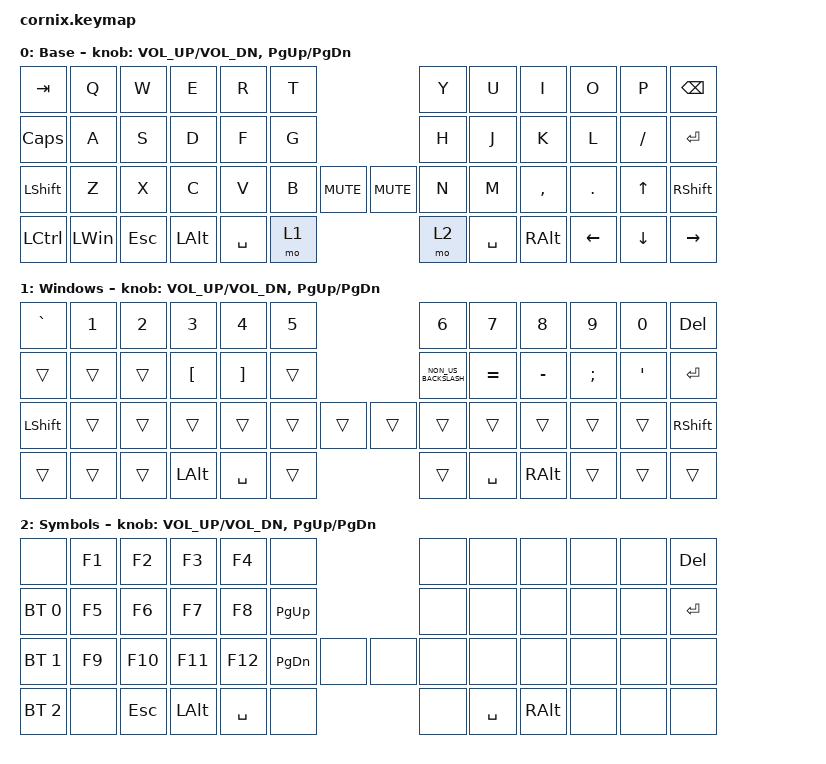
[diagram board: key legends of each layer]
/*
 * Copyright (c) 2020 The ZMK Contributors
 *
 * SPDX-License-Identifier: MIT
 */

#include "zmk-helpers/helper.h"
#include "includes/cornix54.h"

// tap windows for ctl alt and gui

#define HM_TAPPING_TERM 250
#define HM_TAPPING_REPEAT 210

// quick tapping for shift

#define HM_TAPPING_TERM_FAST 200
#define HM_PRIOR_IDLE 70
#define BASE 0
#define WIN 1
#define LOWER 2
#define RAISE 3
#define ADJUST 4
#define NAVI   5
#define NUM    6
#define DEBUG  7

// https://github.com/urob/zmk-config/tree/main#timeless-homerow-mods

#define KEYS_L LT0 LT1 LT2 LT3 LT4 LT5 LM0 LM1 LM2 LM3 LM4 LM5 LB0 LB1 LB2 LB3 LB4 LB5  // left hand
#define KEYS_R RT0 RT1 RT2 RT3 RT4 RT5 RM0 RM1 RM2 RM3 RM4 RM5 RB0 RB1 RB2 RB3 RB4 RB5  // right hand
#define THUMBS LH1 LH0 RH0 RH1
#define KEYS_T LH1 LH0 RH0 RH1
#define ZMK_POINTING_DEFAULT_SCRL_VAL 15

#include <behaviors.dtsi>
#include <dt-bindings/zmk/bt.h>
#include <dt-bindings/zmk/keys.h>

/ {
    // Activate ADJUST layer by pressing raise and lower

    behaviors {
        hm_l: homerow_mods_left {
            compatible = "zmk,behavior-hold-tap";
            #binding-cells = <2>;
            bindings = <&kp>, <&kp>;

            flavor = "balanced";
            tapping-term-ms = <HM_TAPPING_TERM>;
            quick-tap-ms = <200>;                // repeat on tap-into-hold
            require-prior-idle-ms = <HM_PRIOR_IDLE>;
            hold-trigger-key-positions = <KEYS_R KEYS_T>;
            hold-trigger-on-release;
        };

        hm_r: homerow_mods_right {
            compatible = "zmk,behavior-hold-tap";
            #binding-cells = <2>;
            bindings = <&kp>, <&kp>;

            flavor = "balanced";
            tapping-term-ms = <HM_TAPPING_TERM>;
            quick-tap-ms = <200>;
            require-prior-idle-ms = <HM_PRIOR_IDLE>;
            hold-trigger-key-positions = <KEYS_L KEYS_T>;
            hold-trigger-on-release;
        };

        // Positional Homerow mods for shift
        // Use faster tapping term and disable some features that may
        // cause false negatives.

        hm_shift_l: hm_shift_l {
            compatible = "zmk,behavior-hold-tap";
            #binding-cells = <2>;
            bindings = <&kp>, <&kp>;

            //flavor = "balanced";

            flavor = "balanced";
            tapping-term-ms = <HM_TAPPING_TERM_FAST>;
            quick-tap-ms = <200>;
            require-prior-idle-ms = <HM_PRIOR_IDLE>;
            hold-trigger-key-positions = <KEYS_R KEYS_T>;
            hold-trigger-on-release;
        };

        hm_shift_r: hm_shift_r {
            compatible = "zmk,behavior-hold-tap";
            #binding-cells = <2>;
            bindings = <&kp>, <&kp>;

            flavor = "balanced";
            tapping-term-ms = <HM_TAPPING_TERM_FAST>;
            quick-tap-ms = <200>;
            require-prior-idle-ms = <HM_PRIOR_IDLE>;
            hold-trigger-key-positions = <KEYS_L KEYS_T>;

            // for quick tapping; shift+~

            hold-trigger-on-release;
        };

        /*
         * Non-Positional Homerow Mods
         * Used for &mm_grescm_gui behavior on left hand.
         *
         * Usage: &hm LSHFT T
         * Tap: T
         * Tap-Tap-Hold: Repeat T
         * Hold: LSHIFT
         */

        hm: homerow_mods {
            compatible = "zmk,behavior-hold-tap";
            #binding-cells = <2>;
            bindings = <&kp>, <&kp>;

            flavor = "balanced";
            tapping-term-ms = <HM_TAPPING_TERM>;
            quick-tap-ms = <200>;
        };

        lt: layer_tap {
            compatible = "zmk,behavior-hold-tap";
            #binding-cells = <2>;
            bindings = <&mo>, <&kp>;

            flavor = "hold-preferred";
            tapping-term-ms = <HM_TAPPING_TERM>;
            quick-tap-ms = <200>;
        };
    };

    conditional_layers {
        compatible = "zmk,conditional-layers";

        adjust_layer {
            if-layers = <3 2>;
            then-layer = <3>;
        };
    };

    combos {
        compatible = "zmk,combos";

        cb_ltm {
            bindings = <&kp ESC>;
            key-positions = <2 4>;
            layers = <0 1>;
        };

        cb_lm {
            bindings = <&kp TAB>;
            key-positions = <14 16>;
            layers = <0 1>;
        };

        cb_enter {
            bindings = <&kp RET>;
            key-positions = <21 19>;
            layers = <0 1>;
        };

        layer3 {
            bindings = <&kp N3>;
            key-positions = <5 6>;
        };

        layer4 {
            bindings = <&kp N4>;
            key-positions = <5 6>;
        };
    };

    keymap {
        compatible = "zmk,keymap";

        default_layer {
            display-name = "Base";

            // ------------------------------------------------------------------------------------------------------------
            // |   `   |  1  |  2  |  3   |  4   |  5   |                   |  6   |  7    |  8    |  9   |   0   |       |
            // |  ESC  |  Q  |  W  |  E   |  R   |  T   |                   |  Y   |  U    |  I    |  O   |   P   | BKSPC |
            // |  TAB  |  A  |  S  |  D   |  F   |  G   |                   |  H   |  J    |  K    |  L   |   ;   |   '   |
            // | SHIFT |  Z  |  X  |  C   |  V   |  B   |  MUTE  |  |       |  N   |  M    |  ,    |  .   |   /   | SHIFT |
            //               | GUI | ALT  | CTRL | LOWER|  ENTER |  | SPACE | RAISE| CTRL  | ALT   | GUI  |

            bindings = <
&kp TAB           &kp Q         &kp W       &kp E         &kp R      &kp T                          &kp Y  &kp U      &kp I          &kp O           &kp P         &kp BACKSPACE
&kp CAPS          &kp A         &kp S       &kp D         &kp F      &kp G                          &kp H  &kp J      &kp K          &kp L           &kp SLASH     &kp ENTER
&kp LEFT_SHIFT    &kp Z         &kp X       &kp C         &kp V      &kp B  &kp K_MUTE  &kp K_MUTE  &kp N  &kp M      &kp COMMA      &kp DOT         &kp UP_ARROW  &kp RIGHT_SHIFT
&kp LEFT_CONTROL  &kp LEFT_WIN  &kp ESCAPE  &kp LEFT_ALT  &kp SPACE  &mo 1                          &mo 2  &kp SPACE  &kp RIGHT_ALT  &kp LEFT_ARROW  &kp DOWN      &kp RIGHT_ARROW
            >;

            sensor-bindings = <&inc_dec_kp C_VOL_UP C_VOL_DN &inc_dec_kp PG_UP PG_DN>;
        };

        number_layer {
            display-name = "Windows";

            // ------------------------------------------------------------------------------------------------------------
            // |   `   |  1  |  2  |  3   |  4   |  5   |                   |  6   |  7    |  8    |  9   |   0   |       |
            // |  ESC  |  Q  |  W  |  E   |  R   |  T   |                   |  Y   |  U    |  I    |  O   |   P   | BKSPC |
            // |  TAB  |  A  |  S  |  D   |  F   |  G   |                   |  H   |  J    |  K    |  L   |   ;   |   '   |
            // | SHIFT |  Z  |  X  |  C   |  V   |  B   |  MUTE  |  |       |  N   |  M    |  ,    |  .   |   /   | SHIFT |
            //               | GUI | ALT  | CTRL | LOWER|  ENTER |  | SPACE | RAISE| CTRL  | ALT   | GUI  |

            bindings = <
&kp GRAVE       &kp NUMBER_1  &kp NUMBER_2  &kp NUMBER_3      &kp NUMBER_4       &kp N5                  &kp NUMBER_6          &kp N7     &kp N8         &kp N9         &kp N0          &kp DELETE
&trans          &trans        &trans        &kp LEFT_BRACKET  &kp RIGHT_BRACKET  &trans                  &kp NON_US_BACKSLASH  &kp EQUAL  &kp MINUS      &kp SEMICOLON  &kp APOSTROPHE  &kp ENTER
&kp LEFT_SHIFT  &trans        &trans        &trans            &trans             &trans  &trans  &trans  &trans                &trans     &trans         &trans         &trans          &kp RIGHT_SHIFT
&trans          &trans        &trans        &kp LEFT_ALT      &kp SPACE          &trans                  &trans                &kp SPACE  &kp RIGHT_ALT  &trans         &trans          &trans
            >;

            sensor-bindings = <&inc_dec_kp C_VOL_UP C_VOL_DN &inc_dec_kp PG_UP PG_DN>;
        };

        function_layer {
            display-name = "Symbols";

            // TODO: Some binds are waiting for shifted keycode support.
            // -------------------------------
            // |       |  F1 |  F2 |  F3  |  F4  |  F5  |                   |  F6  |  F7   |  F8   |  F9  |  F10  |  F11  |
            // |   `   |  1  |  2  |  3   |  4   |  5   |                   |  6   |  7    |  8    |  9   |   0   |  F12  |
            // |       |  !  |  @  |  #   |  $   |  %   |                   |  ^   |  &    |  *    |  (   |   )   |   |   |
            // |       |  =  |  -  |  +   |  {   |  }   |        |  |       |  [   |  ]    |  ;    |  :   |   \   |       |
            //               |     |      |      |      |        |  |       |      |       |       |      |

            bindings = <
&none         &kp F1  &kp F2      &kp F3        &kp F4     &none                        &none  &none      &none          &none  &none  &kp DELETE
&bt BT_SEL 0  &kp F5  &kp F6      &kp F7        &kp F8     &kp PAGE_UP                  &none  &none      &none          &none  &none  &kp ENTER
&bt BT_SEL 1  &kp F9  &kp F10     &kp F11       &kp F12    &kp PAGE_DOWN  &none  &none  &none  &none      &none          &none  &none  &none
&bt BT_SEL 2  &none   &kp ESCAPE  &kp LEFT_ALT  &kp SPACE  &none                        &none  &kp SPACE  &kp RIGHT_ALT  &none  &none  &none
            >;

            sensor-bindings = <&inc_dec_kp C_VOL_UP C_VOL_DN &inc_dec_kp PG_UP PG_DN>;
        };
    };
};
